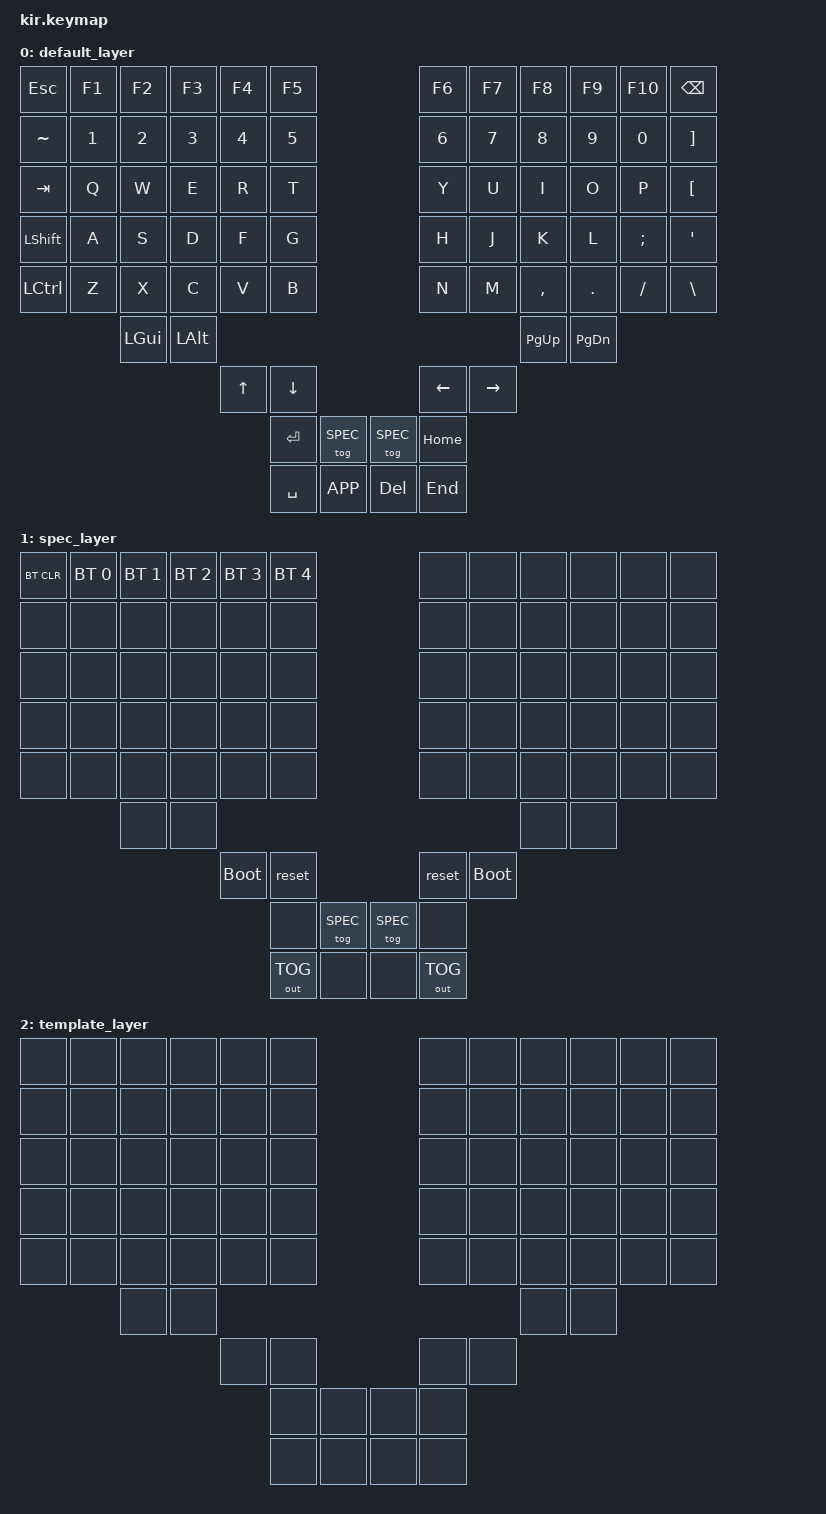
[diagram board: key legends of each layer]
#include <behaviors.dtsi>
#include <dt-bindings/zmk/keys.h>
#include <dt-bindings/zmk/bt.h>
#include <dt-bindings/zmk/outputs.h>

#define DEFAULT 0
#define SPEC    1
#define LOWER   2
#define RAISE   3
#define ADJUST  4

#define HYPER(key) LS(LC(LA(LG(key))))
#define MEH(key)   LS(LC(LA(key)))

&sl {
    release-after-ms = <5000>;
};

&kscan0 {
    debounce-press-ms = <30>;
    debounce-release-ms = <30>;
};

/ {
// | MX1  | MX2  | MX3  | MX4  | MX5  | MX6  |                 | MX7  | MX8  | MX9  | MX10 | MX11 | MX12 |
// | MX13 | MX14 | MX15 | MX16 | MX17 | MX18 |                 | MX19 | MX20 | MX21 | MX22 | MX23 | MX24 |
// | MX25 | MX26 | MX27 | MX28 | MX29 | MX30 |                 | MX31 | MX32 | MX33 | MX34 | MX35 | MX36 |
// | MX37 | MX38 | MX39 | MX40 | MX41 | MX42 |                 | MX43 | MX44 | MX45 | MX46 | MX47 | MX48 |
// | MX49 | MX50 | MX51 | MX52 | MX53 | MX54 |                 | MX55 | MX56 | MX57 | MX58 | MX59 | MX60 |
//               | MX61 | MX62 |                                             | MX67 | MX68 |
//                             | MX63 | MX64 |                 | MX65 | MX66 |
//                                    | MX69 | MX70 |   | MX71 | MX72 |
//                                    | MX73 | MX74 |   | MX75 | MX76 |
    keymap {
        compatible = "zmk,keymap";

        default_layer {
            bindings = <
    &kp ESC   &kp F1 &kp F2   &kp F3   &kp F4 &kp F5                             &kp F6   &kp F7    &kp F8    &kp F9   &kp F10  &kp BSPC
    &kp TILDE &kp N1 &kp N2   &kp N3   &kp N4 &kp N5                             &kp N6   &kp N7    &kp N8    &kp N9   &kp N0   &kp RIGHT_BRACKET
    &kp TAB   &kp Q  &kp W    &kp E    &kp R  &kp T                              &kp Y    &kp U     &kp I     &kp O    &kp P    &kp LEFT_BRACKET
    &kp LSHFT &kp A  &kp S    &kp D    &kp F  &kp G                              &kp H    &kp J     &kp K     &kp L    &kp SEMI &kp APOSTROPHE
    &kp LCTRL &kp Z  &kp X    &kp C    &kp V  &kp B                              &kp N    &kp M     &kp COMMA &kp DOT  &kp FSLH &kp BSLH
                     &kp LGUI &kp LALT                                                              &kp PG_UP &kp PG_DN
                                       &kp UP &kp DOWN                           &kp LEFT &kp RIGHT 
                                              &kp ENTER &tog SPEC      &tog SPEC &kp HOME
                                              &kp SPACE &kp K_APP      &kp DEL   &kp END   
            >;
        };

        spec_layer {
            bindings = <
    &bt BT_CLR &bt BT_SEL 0 &bt BT_SEL 1 &bt BT_SEL 2 &bt BT_SEL 3 &bt BT_SEL 4                       &none        &none       &none &none &none &none
    &none      &none        &none        &none        &none        &none                              &none        &none       &none &none &none &none
    &none      &none        &none        &none        &none        &none                              &none        &none       &none &none &none &none
    &none      &none        &none        &none        &none        &none                              &none        &none       &none &none &none &none
    &none      &none        &none        &none        &none        &none                              &none        &none       &none &none &none &none
                            &none        &none                                                                                 &none &none
                                                      &bootloader  &reset                             &reset       &bootloader    
                                                                   &none        &tog SPEC   &tog SPEC &none
                                                                   &out OUT_TOG &none       &none     &out OUT_TOG   
            >;
        };

        template_layer {
            bindings = <
    &none   &none   &none   &none   &none   &none                       &none   &none   &none   &none   &none   &none
    &none   &none   &none   &none   &none   &none                       &none   &none   &none   &none   &none   &none
    &none   &none   &none   &none   &none   &none                       &none   &none   &none   &none   &none   &none
    &none   &none   &none   &none   &none   &none                       &none   &none   &none   &none   &none   &none
    &none   &none   &none   &none   &none   &none                       &none   &none   &none   &none   &none   &none
                    &none   &none                                                       &none   &none
                                    &none   &none                       &none   &none    
                                            &none   &none       &none   &none
                                            &none   &none       &none   &none   
            >;
        };
    //     lower_layer {
    //         bindings = <
    // &kp F12    &kp F1    &kp F2   &kp F3     &kp F4    &kp F5                            &kp F6        &kp F7       &kp F8           &kp F9            &kp F10     &kp F11
    // &sl ADJUST &none     &none    &none      &none     &none                             &none         &kp LC(1)    &kp LC(PG_UP)    &kp LC(PG_DN)     &kp LC(9)   &none 
    // &trans     &kp CAPS  &none    &none      &none     &none                             &kp LEFT      &kp DOWN     &kp UP           &kp RIGHT         &none       &none 
    // &trans     &none     &none    &none      &none     &none                             &kp MEH(N)    &kp MEH(M)   &kp LG(LC(LEFT)) &kp LG(LC(RIGHT)) &kp LG(TAB) &trans 
    //            &none     &kp C_PP &kp C_PREV &kp C_NEXT                                                &kp C_VOL_DN &kp C_VOL_UP     &kp C_MUTE        &none 
    //                                                &kp C_BRI_UP &kp C_BRI_DN   &kp PSCRN &kp INS
    //                                                             &kp HOME       &kp PG_UP
    //                                         &trans &trans       &kp END        &kp PG_DN &trans    &trans   
    //         >;       };

    //     raise_layer {
    //         bindings = <
    // &trans    &trans    &trans   &trans    &trans    &trans                          &trans    &trans    &trans    &trans    &trans    &trans
    // &kp TAB   &kp T     &kp Q    &kp W     &kp E     &kp R                           &trans    &trans    &trans    &trans    &trans    &trans
    // &kp G     &kp LSHFT &kp A    &kp S     &kp D     &kp F                           &trans    &trans    &trans    &trans    &trans    &trans
    // &kp M     &trans    &trans   &trans    &trans    &trans                          &trans    &trans    &trans    &trans    &trans    &trans
    //           &trans    &trans   &trans    &trans                                              &trans    &trans    &trans    &trans
    //                                                  &trans    &trans      &trans    &trans
    //                                                            &trans      &trans   
    //                                        &kp SPACE &kp LCTRL &kp LALT    &trans    &trans    &trans   
    //         >;
    //     };

    //     adjust_layer {
    //         bindings = <
    // &none     &bt BT_SEL 0 &bt BT_SEL 1 &bt BT_SEL 2 &bt BT_SEL 3 &bt BT_SEL 4                         &none       &none     &none     &none     &none    &none  
    // &trans    &out OUT_USB &out OUT_BLE &none        &reset       &tog MAC                             &none       &reset    &none     &none     &none    &none   
    // &trans    &none        &none        &none        &none        &none                                &none       &none     &none     &none     &none    &none   
    // &none     &none        &bt BT_CLR   &none        &none        &bootloader                          &bootloader &none     &none     &none     &none    &none   
    //           &none        &none        &none        &none                                                         &none     &none     &none     &none 
    //                                                               &none       &none       &none     &none 
    //                                                                           &none       &none    
    //                                                      &none    &none       &none       &none     &none     &none    
    //         >;
    //     };
    };
};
